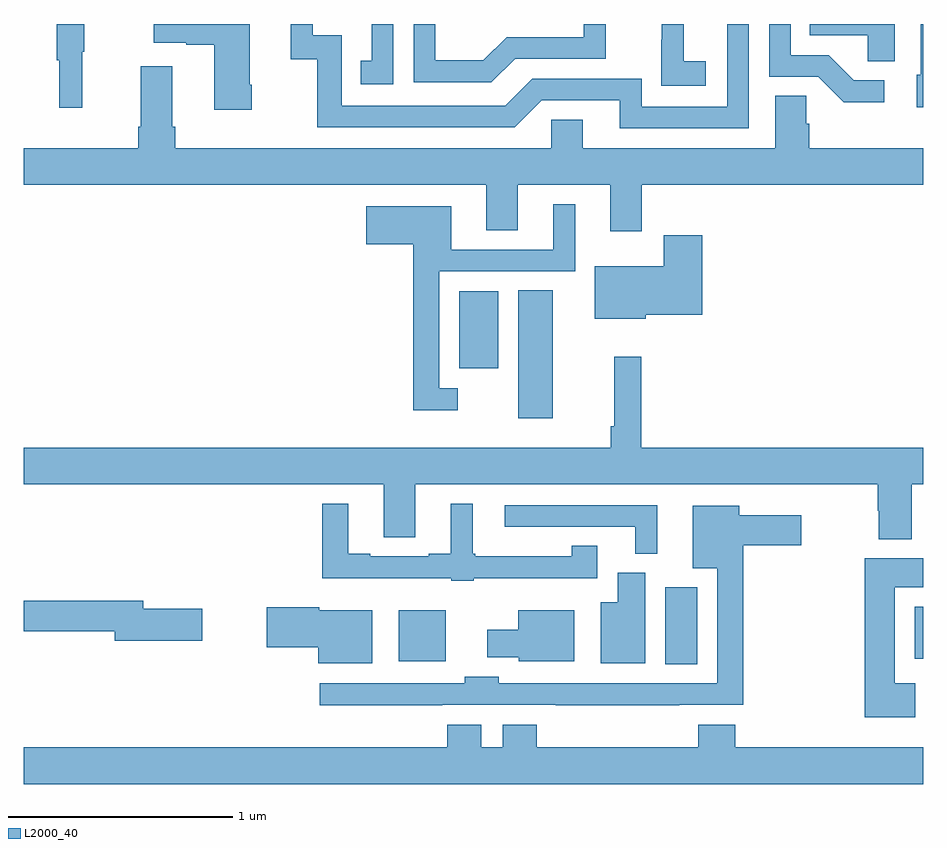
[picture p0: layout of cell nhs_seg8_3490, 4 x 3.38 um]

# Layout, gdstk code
import gdstk
lib = gdstk.Library(unit=1e-6, precision=1e-09)
def R(c, l, rs):  # rectangles x0, y0, x1, y1
    for r in rs: c.add(gdstk.rectangle(r[:2], r[2:], *l))
def P(c, l, *ps):  # polygons
    for p in ps: c.add(gdstk.Polygon(p, *l))
L2000_40 = (2000, 40)

nhs_seg8_3490 = lib.new_cell('nhs_seg8_3490')
R(nhs_seg8_3490, L2000_40, [(329.852,1097.053,329.995,1097.395), (328.667,1097.066,328.876,1097.293), (330.962,1097.078,331,1097.308), (329.198,1098.147,329.353,1098.716), (328.937,1098.368,329.11,1098.712)])
P(nhs_seg8_3490, L2000_40, [(331,1099.9),(330.99,1099.9),(330.99,1099.674),(330.971,1099.674),(330.971,1099.53),(331,1099.53)],
  [(330.225,1099.9),(330.129,1099.9),(330.129,1099.533),(329.748,1099.533),(329.748,1099.656),(329.262,1099.656),(329.142,1099.536),(328.413,1099.536),(328.413,1099.851),(328.284,1099.851),(328.284,1099.9),(328.187,1099.9),(328.187,1099.743),(328.305,1099.743),(328.305,1099.44),(329.184,1099.44),(329.304,1099.56),(329.651,1099.56),(329.651,1099.437),(330.225,1099.437)],
  [(328.644,1099.9),(328.547,1099.9),(328.547,1099.737),(328.498,1099.737),(328.498,1099.632),(328.644,1099.632)],
  [(329.185,1099.746),(329.589,1099.746),(329.589,1099.9),(329.49,1099.9),(329.49,1099.842),(329.148,1099.842),(329.044,1099.738),(328.83,1099.738),(328.83,1099.9),(328.734,1099.9),(328.734,1099.641),(329.08,1099.641)],
  [(330.826,1099.65),(330.691,1099.65),(330.58,1099.761),(330.411,1099.761),(330.411,1099.9),(330.315,1099.9),(330.315,1099.665),(330.534,1099.665),(330.647,1099.553),(330.826,1099.553)],
  [(327.26,1099.776),(327.268,1099.776),(327.268,1099.9),(327.147,1099.9),(327.147,1099.739),(327.158,1099.739),(327.158,1099.527),(327.26,1099.527)],
  [(328.014,1099.63),(328.006,1099.63),(328.006,1099.9),(327.579,1099.9),(327.579,1099.817),(327.722,1099.817),(327.722,1099.807),(327.848,1099.807),(327.848,1099.518),(328.014,1099.518)],
  [(330.874,1099.9),(330.496,1099.9),(330.496,1099.85),(330.753,1099.85),(330.753,1099.735),(330.874,1099.735)],
  [(330.034,1099.735),(329.936,1099.735),(329.936,1099.9),(329.837,1099.9),(329.837,1099.831),(329.836,1099.831),(329.836,1099.625),(330.034,1099.625)],
  [(327.674,1099.444),(327.661,1099.444),(327.661,1099.711),(327.521,1099.711),(327.521,1099.444),(327.509,1099.444),(327.509,1099.348),(327,1099.348),(327,1099.184),(329.057,1099.184),(329.057,1098.982),(329.197,1098.982),(329.197,1099.184),(329.609,1099.184),(329.609,1098.978),(329.749,1098.978),(329.749,1099.184),(331,1099.184),(331,1099.348),(330.494,1099.348),(330.494,1099.457),(330.48,1099.457),(330.48,1099.58),(330.341,1099.58),(330.341,1099.348),(329.485,1099.348),(329.485,1099.475),(329.346,1099.475),(329.346,1099.348),(327.674,1099.348)],
  [(328.93,1098.279),(328.848,1098.279),(328.848,1098.801),(329.452,1098.801),(329.452,1099.099),(329.354,1099.099),(329.354,1098.897),(328.9,1098.897),(328.9,1099.09),(328.524,1099.09),(328.524,1098.92),(328.732,1098.92),(328.732,1098.182),(328.93,1098.182)],
  [(329.766,1098.608),(330.017,1098.608),(330.017,1098.961),(329.846,1098.961),(329.846,1098.823),(329.54,1098.823),(329.54,1098.59),(329.766,1098.59)],
  [(330.949,1097.852),(331,1097.852),(331,1098.016),(329.747,1098.016),(329.747,1098.421),(329.626,1098.421),(329.626,1098.112),(329.611,1098.112),(329.611,1098.016),(327,1098.016),(327,1097.852),(328.601,1097.852),(328.601,1097.617),(328.741,1097.617),(328.741,1097.852),(330.797,1097.852),(330.797,1097.736),(330.802,1097.736),(330.802,1097.609),(330.949,1097.609)],
  [(329.002,1097.435),(329.551,1097.435),(329.551,1097.579),(329.438,1097.579),(329.438,1097.533),(329.008,1097.533),(329.008,1097.545),(328.996,1097.545),(328.996,1097.767),(328.898,1097.767),(328.898,1097.545),(328.802,1097.545),(328.802,1097.532),(328.54,1097.532),(328.54,1097.545),(328.444,1097.545),(328.444,1097.767),(328.327,1097.767),(328.327,1097.435),(328.902,1097.435),(328.902,1097.424),(329.002,1097.424)],
  [(329.818,1097.76),(329.139,1097.76),(329.139,1097.664),(329.72,1097.664),(329.72,1097.545),(329.818,1097.545)],
  [(328.862,1096.872),(329.365,1096.872),(329.365,1096.871),(329.915,1096.871),(329.915,1096.872),(330.2,1096.872),(330.2,1097.582),(330.457,1097.582),(330.457,1097.716),(330.181,1097.716),(330.181,1097.758),(329.975,1097.758),(329.975,1097.48),(330.084,1097.48),(330.084,1096.968),(329.112,1096.968),(329.112,1096.996),(328.962,1096.996),(328.962,1096.968),(328.317,1096.968),(328.317,1096.871),(328.862,1096.871)],
  [(330.964,1096.969),(330.874,1096.969),(330.874,1097.396),(331,1097.396),(331,1097.524),(330.74,1097.524),(330.74,1096.817),(330.964,1096.817)],
  [(329.764,1097.46),(329.642,1097.46),(329.642,1097.329),(329.567,1097.329),(329.567,1097.057),(329.764,1097.057)],
  [(327.793,1097.3),(327.532,1097.3),(327.532,1097.336),(327,1097.336),(327,1097.2),(327.404,1097.2),(327.404,1097.158),(327.793,1097.158)],
  [(328.549,1097.293),(328.314,1097.293),(328.314,1097.306),(328.08,1097.306),(328.08,1097.128),(328.31,1097.128),(328.31,1097.057),(328.549,1097.057)],
  [(329.449,1097.293),(329.198,1097.293),(329.198,1097.206),(329.061,1097.206),(329.061,1097.084),(329.202,1097.084),(329.202,1097.066),(329.449,1097.066)],
  [(331,1096.684),(330.164,1096.684),(330.164,1096.783),(329.999,1096.783),(329.999,1096.684),(329.282,1096.684),(329.282,1096.783),(329.129,1096.783),(329.129,1096.684),(329.035,1096.684),(329.035,1096.783),(328.883,1096.783),(328.883,1096.684),(327,1096.684),(327,1096.52),(331,1096.52)])

lib.write_gds('nhs_seg8_3490.gds')
